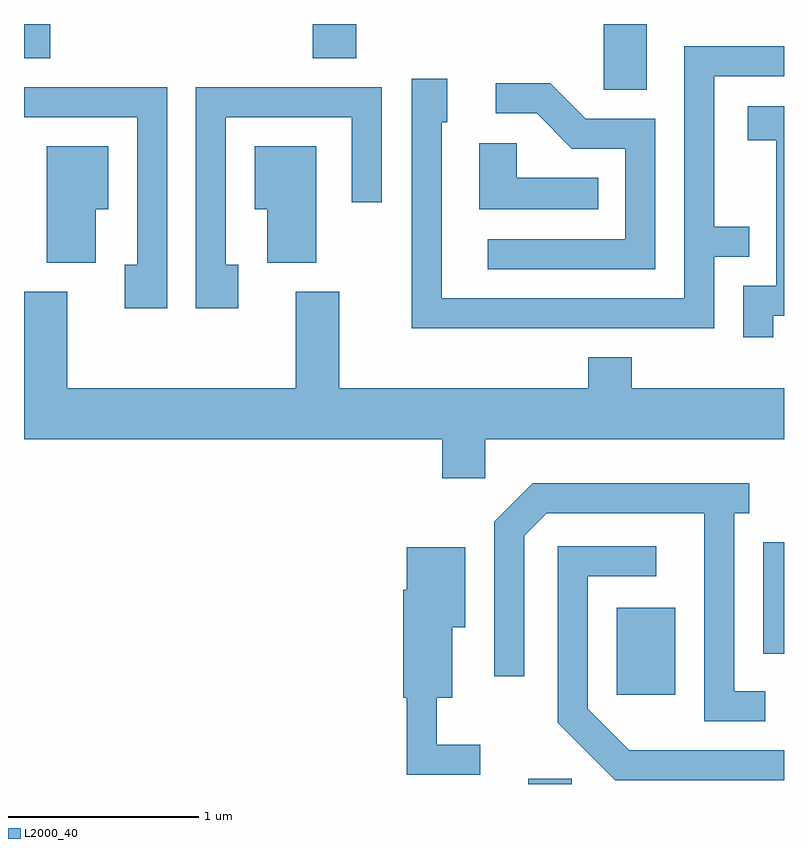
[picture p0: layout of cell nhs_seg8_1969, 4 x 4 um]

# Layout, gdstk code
import gdstk
lib = gdstk.Library(unit=1e-6, precision=1e-09)
def R(c, l, rs):  # rectangles x0, y0, x1, y1
    for r in rs: c.add(gdstk.rectangle(r[:2], r[2:], *l))
def P(c, l, *ps):  # polygons
    for p in ps: c.add(gdstk.Polygon(p, *l))
L2000_40 = (2000, 40)

nhs_seg8_1969 = lib.new_cell('nhs_seg8_1969')
R(nhs_seg8_1969, L2000_40, [(246.266,1872.342,246.494,1872.369), (246.731,1872.811,247.039,1873.269), (247.501,1873.028,247.611,1873.614), (246.661,1875.996,246.889,1876.342), (243.611,1876.161,243.749,1876.342), (245.131,1876.161,245.359,1876.342)])
P(nhs_seg8_1969, L2000_40, [(247.244,1875.116),(247.428,1875.116),(247.428,1875.274),(247.244,1875.274),(247.244,1876.066),(247.611,1876.066),(247.611,1876.224),(247.086,1876.224),(247.086,1874.899),(245.809,1874.899),(245.809,1875.826),(245.839,1875.826),(245.839,1876.054),(245.651,1876.054),(245.651,1874.741),(247.244,1874.741)],
  [(246.934,1875.844),(246.567,1875.844),(246.382,1876.029),(246.093,1876.029),(246.093,1875.871),(246.309,1875.871),(246.494,1875.686),(246.776,1875.686),(246.776,1875.209),(246.053,1875.209),(246.053,1875.051),(246.934,1875.051)],
  [(244.739,1875.074),(244.674,1875.074),(244.674,1875.851),(245.336,1875.851),(245.336,1875.403),(245.494,1875.403),(245.494,1876.009),(244.516,1876.009),(244.516,1874.846),(244.739,1874.846)],
  [(244.364,1876.009),(243.611,1876.009),(243.611,1875.851),(244.206,1875.851),(244.206,1875.074),(244.141,1875.074),(244.141,1874.846),(244.364,1874.846)],
  [(247.554,1874.806),(247.611,1874.806),(247.611,1875.909),(247.421,1875.909),(247.421,1875.731),(247.571,1875.731),(247.571,1874.964),(247.396,1874.964),(247.396,1874.693),(247.554,1874.693)],
  [(246.633,1875.534),(246.204,1875.534),(246.204,1875.714),(246.006,1875.714),(246.006,1875.366),(246.633,1875.366)],
  [(245.149,1875.699),(244.826,1875.699),(244.826,1875.366),(244.891,1875.366),(244.891,1875.086),(245.149,1875.086)],
  [(243.989,1875.366),(244.054,1875.366),(244.054,1875.699),(243.731,1875.699),(243.731,1875.086),(243.989,1875.086)],
  [(246.039,1874.156),(247.611,1874.156),(247.611,1874.424),(246.809,1874.424),(246.809,1874.589),(246.581,1874.589),(246.581,1874.424),(245.269,1874.424),(245.269,1874.934),(245.041,1874.934),(245.041,1874.424),(243.839,1874.424),(243.839,1874.934),(243.611,1874.934),(243.611,1874.156),(245.811,1874.156),(245.811,1873.951),(246.039,1873.951)],
  [(247.513,1872.829),(247.349,1872.829),(247.349,1873.766),(247.428,1873.766),(247.428,1873.924),(246.289,1873.924),(246.086,1873.722),(246.086,1872.908),(246.244,1872.908),(246.244,1873.649),(246.362,1873.766),(247.191,1873.766),(247.191,1872.671),(247.513,1872.671)],
  [(247.611,1872.519),(246.797,1872.519),(246.579,1872.737),(246.579,1873.436),(246.938,1873.436),(246.938,1873.594),(246.421,1873.594),(246.421,1872.664),(246.724,1872.361),(247.611,1872.361)],
  [(246.013,1872.549),(245.784,1872.549),(245.784,1872.796),(245.864,1872.796),(245.864,1873.166),(245.934,1873.166),(245.934,1873.589),(245.626,1873.589),(245.626,1873.364),(245.606,1873.364),(245.606,1872.796),(245.626,1872.796),(245.626,1872.391),(246.013,1872.391)])

lib.write_gds('nhs_seg8_1969.gds')
